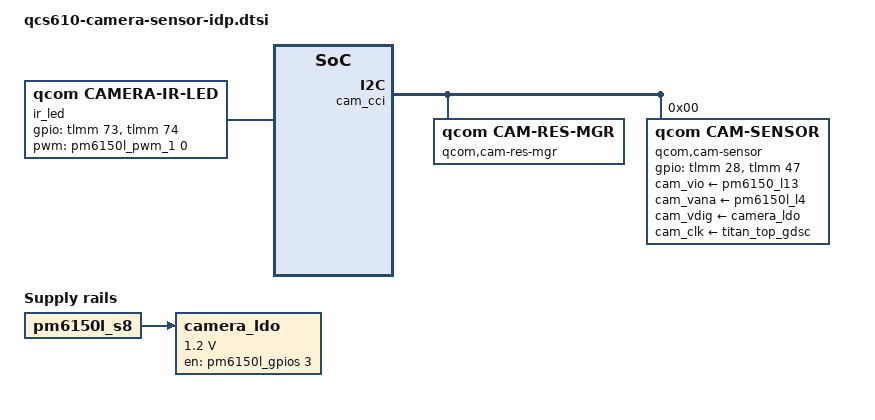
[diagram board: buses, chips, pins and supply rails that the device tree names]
/*
 * Copyright (c) 2019, The Linux Foundation. All rights reserved.
 *
 * This program is free software; you can redistribute it and/or modify
 * it under the terms of the GNU General Public License version 2 and
 * only version 2 as published by the Free Software Foundation.
 *
 * This program is distributed in the hope that it will be useful,
 * but WITHOUT ANY WARRANTY; without even the implied warranty of
 * MERCHANTABILITY or FITNESS FOR A PARTICULAR PURPOSE.  See the
 * GNU General Public License for more details.
 */

&soc {
	ir_led: camera-ir-led@0 {
		cell-index = <0>;
		reg = <0x00>;
		compatible = "qcom,camera-ir-led";
		pwms = <&pm6150l_pwm_1  0 0>;
		enable-active-high;
		pinctrl-names = "default", "cam_default", "cam_suspend";
		pinctrl-0 = <&irled_pwm>;
		pinctrl-1 = <&cam_sensor_ir_cut_on>;
		pinctrl-2 = <&cam_sensor_ir_cut_off>;
		gpios = <&tlmm 73 0>,
			<&tlmm 74 0>;
		qcom,gpio-ir-p = <0>;
		qcom,gpio-ir-m =  <1>;
		qcom,gpio-req-tbl-num = <0 1>;
		qcom,gpio-req-tbl-flags = <0 0>;
		qcom,gpio-req-tbl-label = "IR_CUT_FILTER_P",
				"IR_CUT_FILTER_M";
		gpio-no-mux = <0>;
		status = "ok";
	};

	camera_ldo: gpio-regulator@0 {
		compatible = "regulator-fixed";
		reg = <0x00 0x00>;
		regulator-name = "camera_ldo";
		regulator-min-microvolt = <1200000>;
		regulator-max-microvolt = <1200000>;
		regulator-enable-ramp-delay = <135>;
		enable-active-high;
		gpio = <&pm6150l_gpios 3 0>;
		pinctrl-names = "default";
		pinctrl-0 = <&cam_sensor_dvdd_en>;
		vin-supply = <&pm6150l_s8>;
	};
};

&cam_cci {
	qcom,cam-res-mgr {
		compatible = "qcom,cam-res-mgr";
		status = "ok";
	};

	qcom,cam-sensor@0 {
		cell-index = <0>;
		compatible = "qcom,cam-sensor";
		reg = <0x0>;
		csiphy-sd-index = <0>;
		sensor-position-roll = <90>;
		sensor-position-pitch = <0>;
		sensor-position-yaw = <180>;
		cam_vio-supply = <&pm6150_l13>;
		cam_vana-supply = <&pm6150l_l4>;
		cam_vdig-supply = <&camera_ldo>;
		cam_clk-supply = <&titan_top_gdsc>;
		ir-led-src = <&ir_led>;
		regulator-names = "cam_vio", "cam_vana", "cam_vdig",
			"cam_clk";
		rgltr-cntrl-support;
		rgltr-min-voltage = <1800000 2850000 1200000 0>;
		rgltr-max-voltage = <1800000 2850000 1200000 0>;
		rgltr-load-current = <0 80000 105000 0>;
		gpio-no-mux = <0>;
		pinctrl-names = "cam_default", "cam_suspend";
		pinctrl-0 = <&cam_sensor_mclk0_active
				&cam_sensor_rear_active>;
		pinctrl-1 = <&cam_sensor_mclk0_suspend
				&cam_sensor_rear_suspend>;
		gpios = <&tlmm 28 0>,
			<&tlmm 47 0>;
		gpio-reset = <1>;
		gpio-req-tbl-num = <0 1>;
		gpio-req-tbl-flags = <1 0>;
		gpio-req-tbl-label = "CAMIF_MCLK0",
					"CAM_RESET0";
		sensor-mode = <0>;
		cci-master = <0>;
		status = "ok";
		clocks = <&clock_camcc CAM_CC_MCLK0_CLK>;
		clock-names = "cam_clk";
		clock-cntl-level = "turbo";
		clock-rates = <37125000>;
	};
};
